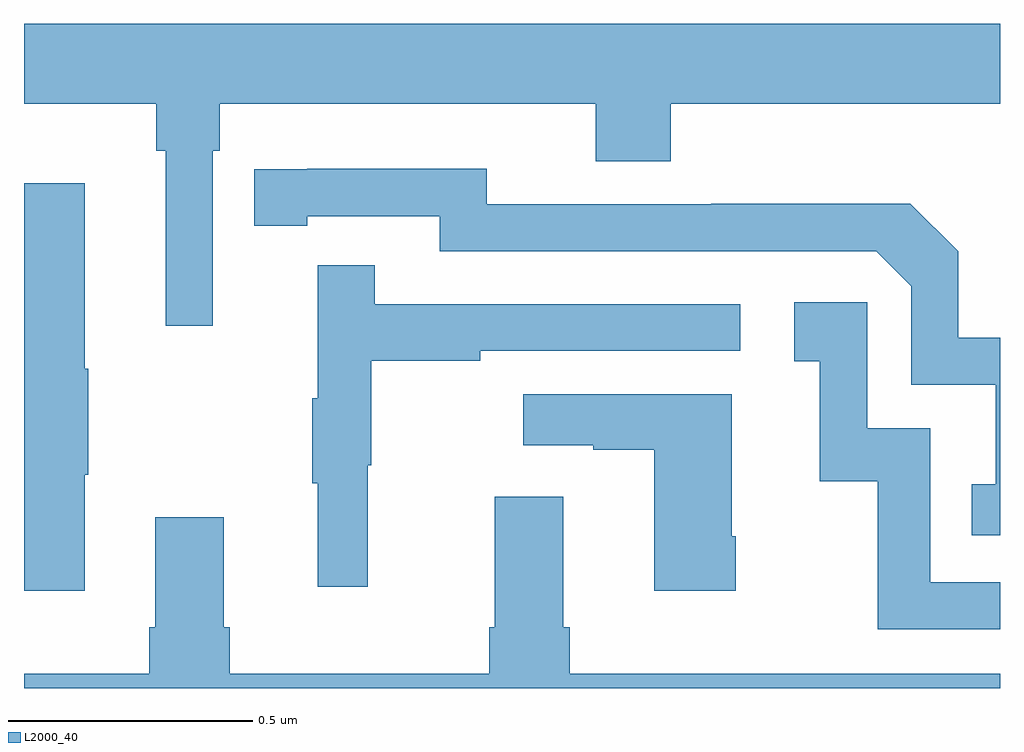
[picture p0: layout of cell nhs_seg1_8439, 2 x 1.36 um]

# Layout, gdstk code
import gdstk
lib = gdstk.Library(unit=1e-6, precision=1e-09)
def P(c, l, *ps):  # polygons
    for p in ps: c.add(gdstk.Polygon(p, *l))
L2000_40 = (2000, 40)

nhs_seg1_8439 = lib.new_cell('nhs_seg1_8439')
P(nhs_seg1_8439, L2000_40, [(216,554.396),(216.271,554.396),(216.271,554.3),(216.29,554.3),(216.29,553.941),(216.387,553.941),(216.387,554.3),(216.401,554.3),(216.401,554.396),(217.172,554.396),(217.172,554.279),(217.325,554.279),(217.325,554.396),(218,554.396),(218,554.56),(216,554.56)],
  [(218,553.917),(217.914,553.917),(217.914,554.094),(217.816,554.192),(217.408,554.192),(217.408,554.19),(216.948,554.19),(216.948,554.263),(216.58,554.263),(216.58,554.262),(216.472,554.262),(216.472,554.146),(216.58,554.146),(216.58,554.166),(216.852,554.166),(216.852,554.094),(217.746,554.094),(217.818,554.022),(217.818,553.821),(217.991,553.821),(217.991,553.617),(217.942,553.617),(217.942,553.512),(218,553.512)],
  [(216.124,553.636),(216.132,553.636),(216.132,553.853),(216.124,553.853),(216.124,554.233),(216,554.233),(216,553.398),(216.124,553.398)],
  [(216.704,553.656),(216.712,553.656),(216.712,553.87),(216.935,553.87),(216.935,553.89),(217.468,553.89),(217.468,553.986),(216.719,553.986),(216.719,554.065),(216.602,554.065),(216.602,553.793),(216.591,553.793),(216.591,553.619),(216.602,553.619),(216.602,553.407),(216.704,553.407)],
  [(218,553.416),(217.857,553.416),(217.857,553.731),(217.728,553.731),(217.728,553.99),(217.578,553.99),(217.578,553.869),(217.631,553.869),(217.631,553.623),(217.749,553.623),(217.749,553.32),(218,553.32)],
  [(217.458,553.51),(217.45,553.51),(217.45,553.801),(217.023,553.801),(217.023,553.697),(217.166,553.697),(217.166,553.687),(217.292,553.687),(217.292,553.398),(217.458,553.398)],
  [(218,553.228),(217.118,553.228),(217.118,553.324),(217.105,553.324),(217.105,553.591),(216.965,553.591),(216.965,553.324),(216.953,553.324),(216.953,553.228),(216.422,553.228),(216.422,553.324),(216.409,553.324),(216.409,553.549),(216.269,553.549),(216.269,553.324),(216.257,553.324),(216.257,553.228),(216,553.228),(216,553.199),(218,553.199)])

lib.write_gds('nhs_seg1_8439.gds')
